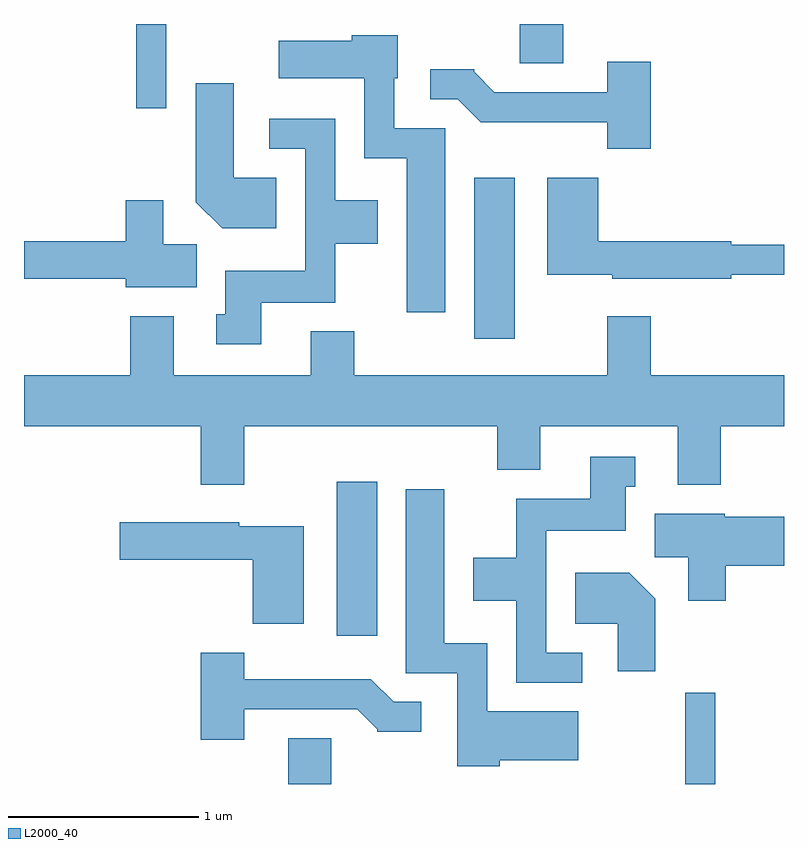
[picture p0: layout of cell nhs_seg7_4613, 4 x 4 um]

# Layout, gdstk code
import gdstk
lib = gdstk.Library(unit=1e-6, precision=1e-09)
def R(c, l, rs):  # rectangles x0, y0, x1, y1
    for r in rs: c.add(gdstk.rectangle(r[:2], r[2:], *l))
def P(c, l, *ps):  # polygons
    for p in ps: c.add(gdstk.Polygon(p, *l))
L2000_40 = (2000, 40)

nhs_seg7_4613 = lib.new_cell('nhs_seg7_4613')
R(nhs_seg7_4613, L2000_40, [(329.001,1670.252,329.229,1670.494), (331.091,1670.252,331.249,1670.733), (329.256,1671.031,329.469,1671.844), (329.981,1672.596,330.194,1673.444), (328.201,1673.808,328.359,1674.252), (330.221,1674.046,330.449,1674.252)])
P(nhs_seg7_4613, L2000_40, [(329.829,1673.704),(329.559,1673.704),(329.559,1673.966),(329.579,1673.966),(329.579,1674.194),(329.336,1674.194),(329.336,1674.164),(328.951,1674.164),(328.951,1673.966),(329.401,1673.966),(329.401,1673.546),(329.626,1673.546),(329.626,1672.736),(329.829,1672.736)],
  [(330.909,1674.054),(330.681,1674.054),(330.681,1673.894),(330.087,1673.894),(329.98,1674.001),(329.98,1674.014),(329.748,1674.014),(329.748,1673.856),(329.894,1673.856),(330.014,1673.736),(330.681,1673.736),(330.681,1673.596),(330.909,1673.596)],
  [(328.939,1673.444),(328.714,1673.444),(328.714,1673.939),(328.516,1673.939),(328.516,1673.314),(328.654,1673.176),(328.939,1673.176)],
  [(328.859,1672.786),(329.249,1672.786),(329.249,1673.096),(329.474,1673.096),(329.474,1673.324),(329.249,1673.324),(329.249,1673.754),(328.903,1673.754),(328.903,1673.596),(329.091,1673.596),(329.091,1672.954),(328.671,1672.954),(328.671,1672.724),(328.623,1672.724),(328.623,1672.566),(328.859,1672.566)],
  [(331.334,1672.931),(331.611,1672.931),(331.611,1673.089),(331.334,1673.089),(331.334,1673.109),(330.634,1673.109),(330.634,1673.444),(330.366,1673.444),(330.366,1672.931),(330.706,1672.931),(330.706,1672.911),(331.334,1672.911)],
  [(328.519,1673.094),(328.344,1673.094),(328.344,1673.324),(328.146,1673.324),(328.146,1673.109),(327.611,1673.109),(327.611,1672.911),(328.146,1672.911),(328.146,1672.866),(328.519,1672.866)],
  [(328.769,1672.136),(330.101,1672.136),(330.101,1671.906),(330.329,1671.906),(330.329,1672.136),(331.051,1672.136),(331.051,1671.826),(331.279,1671.826),(331.279,1672.136),(331.611,1672.136),(331.611,1672.404),(330.909,1672.404),(330.909,1672.714),(330.681,1672.714),(330.681,1672.404),(329.349,1672.404),(329.349,1672.634),(329.121,1672.634),(329.121,1672.404),(328.399,1672.404),(328.399,1672.714),(328.171,1672.714),(328.171,1672.404),(327.611,1672.404),(327.611,1672.136),(328.541,1672.136),(328.541,1671.826),(328.769,1671.826)],
  [(330.548,1670.944),(330.359,1670.944),(330.359,1671.586),(330.779,1671.586),(330.779,1671.816),(330.828,1671.816),(330.828,1671.974),(330.591,1671.974),(330.591,1671.754),(330.201,1671.754),(330.201,1671.444),(329.976,1671.444),(329.976,1671.216),(330.201,1671.216),(330.201,1670.786),(330.548,1670.786)],
  [(330.114,1670.376),(330.529,1670.376),(330.529,1670.634),(330.049,1670.634),(330.049,1670.994),(329.824,1670.994),(329.824,1671.804),(329.621,1671.804),(329.621,1670.836),(329.891,1670.836),(329.891,1670.346),(330.114,1670.346)],
  [(331.304,1671.401),(331.611,1671.401),(331.611,1671.659),(331.3,1671.659),(331.3,1671.674),(330.931,1671.674),(330.931,1671.446),(331.106,1671.446),(331.106,1671.216),(331.304,1671.216)],
  [(329.084,1671.609),(328.744,1671.609),(328.744,1671.629),(328.116,1671.629),(328.116,1671.431),(328.816,1671.431),(328.816,1671.096),(329.084,1671.096)],
  [(330.934,1671.227),(330.797,1671.364),(330.511,1671.364),(330.511,1671.096),(330.736,1671.096),(330.736,1670.846),(330.934,1670.846)],
  [(328.769,1670.646),(329.364,1670.646),(329.47,1670.54),(329.47,1670.526),(329.703,1670.526),(329.703,1670.684),(329.557,1670.684),(329.437,1670.804),(328.769,1670.804),(328.769,1670.944),(328.541,1670.944),(328.541,1670.486),(328.769,1670.486)])

lib.write_gds('nhs_seg7_4613.gds')
